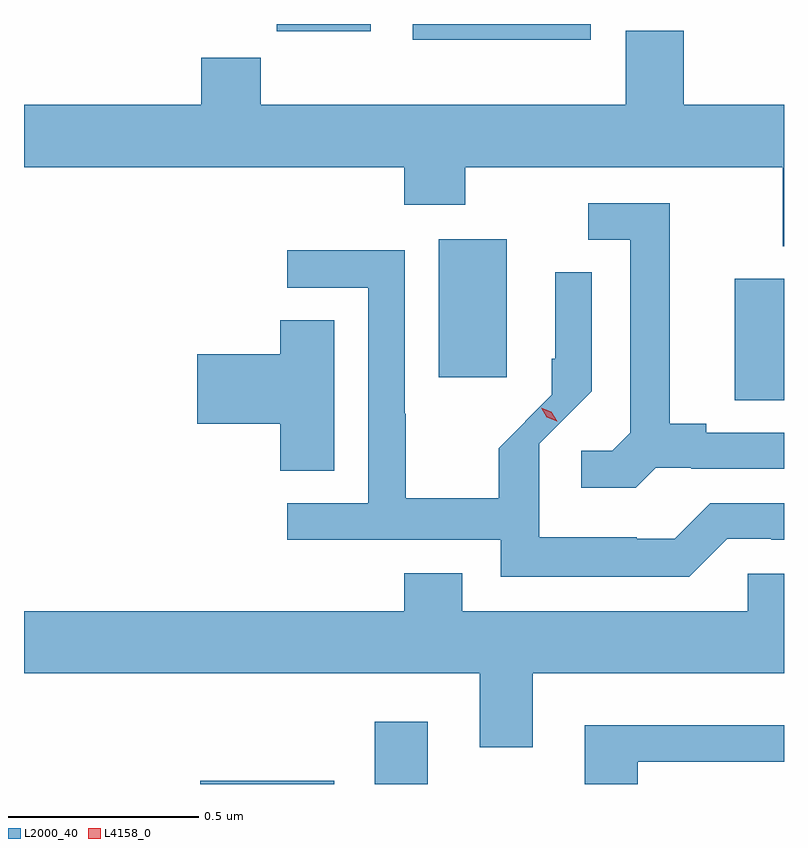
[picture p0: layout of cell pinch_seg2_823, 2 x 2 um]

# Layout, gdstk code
import gdstk
lib = gdstk.Library(unit=1e-6, precision=1e-09)
def R(c, l, rs):  # rectangles x0, y0, x1, y1
    for r in rs: c.add(gdstk.rectangle(r[:2], r[2:], *l))
def P(c, l, *ps):  # polygons
    for p in ps: c.add(gdstk.Polygon(p, *l))
L2000_40 = (2000, 40)
L4158_0 = (4158, 0)

pinch_seg2_823 = lib.new_cell('pinch_seg2_823')
R(pinch_seg2_823, L2000_40, [(672.188,618.041,672.541,618.049), (672.647,618.041,672.787,618.205), (673.595,619.051,673.724,619.371), (672.815,619.112,672.994,619.474), (672.747,620,673.216,620.041), (672.389,620.022,672.637,620.041)])
P(pinch_seg2_823, L2000_40, [(673.724,619.828),(673.46,619.828),(673.46,620.023),(673.307,620.023),(673.307,619.828),(672.347,619.828),(672.347,619.952),(672.191,619.952),(672.191,619.828),(671.724,619.828),(671.724,619.664),(672.725,619.664),(672.725,619.565),(672.885,619.565),(672.885,619.664),(673.721,619.664),(673.721,619.456),(673.724,619.456)],
  [(673.386,618.873),(673.48,618.873),(673.48,618.87),(673.724,618.87),(673.724,618.966),(673.519,618.966),(673.519,618.989),(673.423,618.989),(673.423,619.569),(673.209,619.569),(673.209,619.473),(673.319,619.473),(673.319,618.965),(673.272,618.918),(673.191,618.918),(673.191,618.821),(673.334,618.821)],
  [(673.575,618.687),(673.691,618.687),(673.691,618.684),(673.724,618.684),(673.724,618.78),(673.53,618.78),(673.437,618.687),(673.337,618.687),(673.337,618.691),(673.08,618.691),(673.08,618.936),(673.218,619.074),(673.218,619.388),(673.122,619.388),(673.122,619.16),(673.113,619.16),(673.113,619.065),(672.973,618.925),(672.973,618.793),(672.729,618.793),(672.729,619.016),(672.726,619.016),(672.726,619.446),(672.417,619.446),(672.417,619.347),(672.63,619.347),(672.63,618.78),(672.417,618.78),(672.417,618.684),(672.978,618.684),(672.978,618.587),(673.475,618.587)],
  [(672.541,619.262),(672.398,619.262),(672.398,619.172),(672.18,619.172),(672.18,618.989),(672.398,618.989),(672.398,618.865),(672.541,618.865)],
  [(673.063,618.332),(673.724,618.332),(673.724,618.594),(673.629,618.594),(673.629,618.496),(672.877,618.496),(672.877,618.595),(672.725,618.595),(672.725,618.496),(671.724,618.496),(671.724,618.332),(672.923,618.332),(672.923,618.138),(673.063,618.138)],
  [(673.339,618.099),(673.724,618.099),(673.724,618.196),(673.199,618.196),(673.199,618.041),(673.339,618.041)])
P(pinch_seg2_823, L4158_0, [(673.126,618.996),(673.099,619.006),(673.085,619.031),(673.085,619.031),(673.085,619.031),(673.112,619.021),(673.127,618.996),(673.127,618.996)])

lib.write_gds('pinch_seg2_823.gds')
